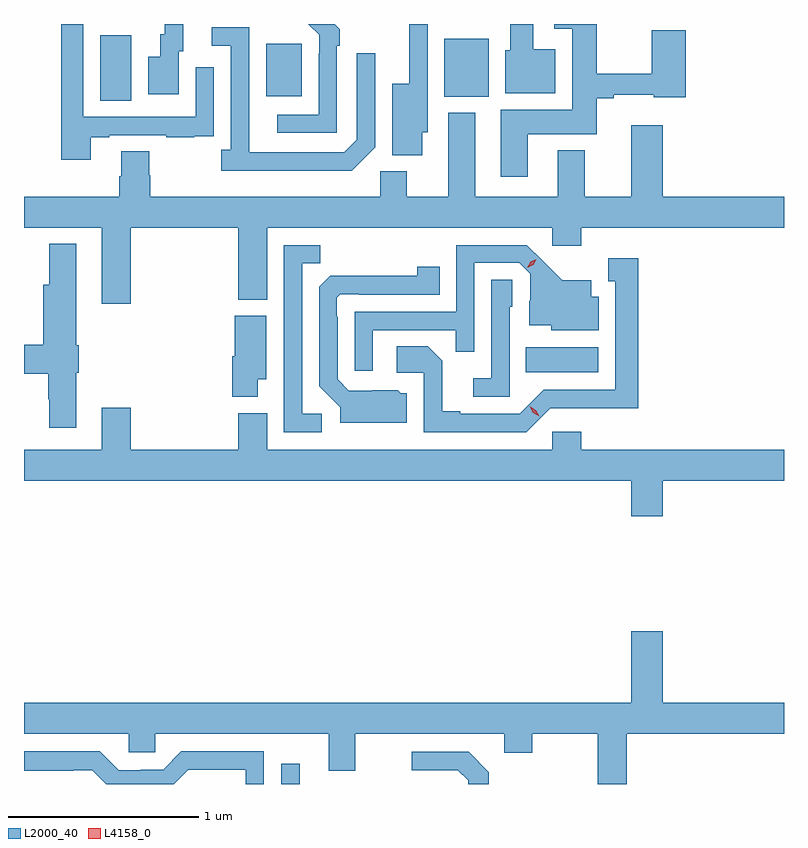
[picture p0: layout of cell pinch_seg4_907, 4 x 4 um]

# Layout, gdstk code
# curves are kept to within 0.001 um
import gdstk
lib = gdstk.Library(unit=1e-6, precision=1e-09)
def R(c, l, rs):  # rectangles x0, y0, x1, y1
    for r in rs: c.add(gdstk.rectangle(r[:2], r[2:], *l))
def P(c, l, *ps):  # polygons
    for p in ps: c.add(gdstk.Polygon(p, *l))
L2000_40 = (2000, 40)
L4158_0 = (4158, 0)

pinch_seg4_907 = lib.new_cell('pinch_seg4_907')
R(pinch_seg4_907, L2000_40, [(738.589,825.86,738.685,825.967), (739.876,828.026,740.257,828.16), (737.636,829.456,737.8,829.8), (739.448,829.478,739.681,829.783), (738.509,829.481,738.697,829.756)])
P(pinch_seg4_907, L2000_40, [(738.882,829.745),(738.897,829.745),(738.897,829.833),(738.87,829.86),(738.732,829.86),(738.789,829.803),(738.789,829.703),(738.786,829.703),(738.786,829.383),(738.567,829.383),(738.567,829.287),(738.882,829.287)],
  [(737.587,829.263),(737.683,829.263),(737.683,829.275),(737.983,829.275),(737.983,829.263),(738.131,829.263),(738.131,829.269),(738.233,829.269),(738.233,829.378),(738.234,829.378),(738.234,829.633),(738.138,829.633),(738.138,829.371),(737.547,829.371),(737.547,829.86),(737.431,829.86),(737.431,829.146),(737.587,829.146)],
  [(739.33,829.289),(739.359,829.289),(739.359,829.86),(739.262,829.86),(739.262,829.546),(739.172,829.546),(739.172,829.17),(739.33,829.17)],
  [(739.885,829.28),(740.25,829.28),(740.25,829.468),(740.338,829.468),(740.338,829.487),(740.55,829.487),(740.55,829.475),(740.717,829.475),(740.717,829.828),(740.539,829.828),(740.539,829.597),(740.25,829.597),(740.25,829.86),(740.025,829.86),(740.025,829.835),(740.12,829.835),(740.12,829.408),(739.745,829.408),(739.745,829.056),(739.885,829.056)],
  [(740.032,829.726),(739.915,829.726),(739.915,829.86),(739.793,829.86),(739.793,829.722),(739.769,829.722),(739.769,829.496),(740.032,829.496)],
  [(738.049,829.716),(738.073,829.716),(738.073,829.86),(737.976,829.86),(737.976,829.806),(737.951,829.806),(737.951,829.687),(737.888,829.687),(737.888,829.491),(738.049,829.491)],
  [(739.083,829.211),(739.083,829.705),(738.987,829.705),(738.987,829.251),(738.921,829.185),(738.421,829.185),(738.42,829.842),(738.222,829.842),(738.222,829.746),(738.324,829.746),(738.324,829.198),(738.273,829.198),(738.273,829.088),(738.96,829.088)],
  [(741.235,828.952),(740.596,828.952),(740.596,829.327),(740.432,829.327),(740.432,828.952),(740.185,828.952),(740.185,829.195),(740.045,829.195),(740.045,828.952),(739.609,828.952),(739.609,829.393),(739.469,829.393),(739.469,828.952),(739.249,828.952),(739.249,829.084),(739.11,829.084),(739.11,828.952),(737.9,828.952),(737.9,829.065),(737.895,829.065),(737.895,829.19),(737.747,829.19),(737.747,829.058),(737.735,829.058),(737.735,828.952),(737.235,828.952),(737.235,828.788),(737.645,828.788),(737.645,828.387),(737.798,828.387),(737.798,828.788),(738.362,828.788),(738.362,828.41),(738.514,828.41),(738.514,828.788),(740.016,828.788),(740.016,828.693),(740.168,828.693),(740.168,828.788),(741.235,828.788)],
  [(737.509,828.024),(737.522,828.024),(737.522,828.168),(737.509,828.168),(737.509,828.703),(737.369,828.703),(737.369,828.487),(737.336,828.487),(737.336,828.172),(737.235,828.172),(737.235,828.02),(737.362,828.02),(737.362,827.886),(737.369,827.886),(737.369,827.736),(737.509,827.736)],
  [(738.802,827.808),(738.699,827.808),(738.699,828.601),(738.795,828.601),(738.795,828.696),(738.603,828.696),(738.603,827.712),(738.802,827.712)],
  [(739.071,828.249),(739.507,828.249),(739.507,828.136),(739.605,828.136),(739.605,828.603),(739.842,828.603),(739.899,828.546),(739.899,828.404),(739.895,828.404),(739.895,828.275),(740.01,828.275),(740.01,828.248),(740.26,828.248),(740.26,828.424),(740.221,828.424),(740.221,828.511),(740.069,828.511),(739.882,828.696),(739.509,828.696),(739.509,828.345),(738.975,828.345),(738.975,828.036),(739.071,828.036)],
  [(740.004,827.838),(740.467,827.837),(740.467,828.628),(740.309,828.628),(740.309,828.507),(740.348,828.507),(740.348,827.934),(739.971,827.934),(739.845,827.808),(739.531,827.808),(739.531,827.821),(739.437,827.821),(739.437,828.088),(739.361,828.164),(739.197,828.164),(739.197,828.024),(739.338,828.024),(739.338,827.712),(739.878,827.712)],
  [(739.249,827.916),(739.218,827.916),(739.202,827.932),(738.945,827.931),(738.885,827.991),(738.885,828.32),(738.882,828.32),(738.882,828.42),(738.9,828.438),(739,828.438),(739,828.435),(739.424,828.435),(739.424,828.583),(739.306,828.583),(739.306,828.536),(738.848,828.535),(738.789,828.476),(738.789,827.954),(738.899,827.844),(738.899,827.762),(739.249,827.762)],
  [(739.791,828.372),(739.806,828.372),(739.806,828.515),(739.695,828.515),(739.695,827.995),(739.599,827.995),(739.599,827.898),(739.791,827.898)],
  [(738.466,827.99),(738.511,827.99),(738.511,828.325),(738.344,828.325),(738.344,828.111),(738.332,828.111),(738.332,827.897),(738.466,827.897)],
  [(740.596,827.456),(741.235,827.456),(741.235,827.62),(740.168,827.62),(740.168,827.713),(740.016,827.713),(740.016,827.62),(738.514,827.62),(738.514,827.812),(738.362,827.812),(738.362,827.62),(737.798,827.62),(737.798,827.839),(737.645,827.839),(737.645,827.62),(737.235,827.62),(737.235,827.456),(740.432,827.456),(740.432,827.268),(740.596,827.268)],
  [(740.408,826.124),(741.235,826.124),(741.235,826.288),(740.596,826.288),(740.596,826.663),(740.432,826.663),(740.432,826.288),(737.235,826.288),(737.235,826.124),(737.787,826.124),(737.787,826.026),(737.925,826.026),(737.925,826.124),(738.839,826.124),(738.839,825.93),(738.979,825.93),(738.979,826.124),(739.763,826.124),(739.763,826.025),(739.911,826.025),(739.911,826.124),(740.255,826.124),(740.255,825.86),(740.408,825.86)],
  [(738.099,825.936),(738.402,825.936),(738.402,825.86),(738.498,825.86),(738.498,826.032),(738.063,826.032),(737.967,825.936),(737.849,825.936),(737.849,825.933),(737.733,825.933),(737.633,826.033),(737.235,826.033),(737.235,825.929),(737.495,825.929),(737.495,825.933),(737.595,825.933),(737.668,825.86),(738.023,825.86)],
  [(739.681,825.923),(739.575,826.029),(739.275,826.029),(739.275,825.933),(739.518,825.933),(739.572,825.879),(739.572,825.86),(739.681,825.86)])
P(pinch_seg4_907, L4158_0, [(739.946,827.795),(739.914,827.814),(739.897,827.847),(739.897,827.847),(739.897,827.847),(739.929,827.828),(739.946,827.795),(739.946,827.795)],
  [(739.884,828.578),(739.884,828.578),(739.901,828.608),(739.932,828.623),(739.932,828.623),(739.932,828.622),(739.914,828.593),(739.884,828.578)])

lib.write_gds('pinch_seg4_907.gds')
